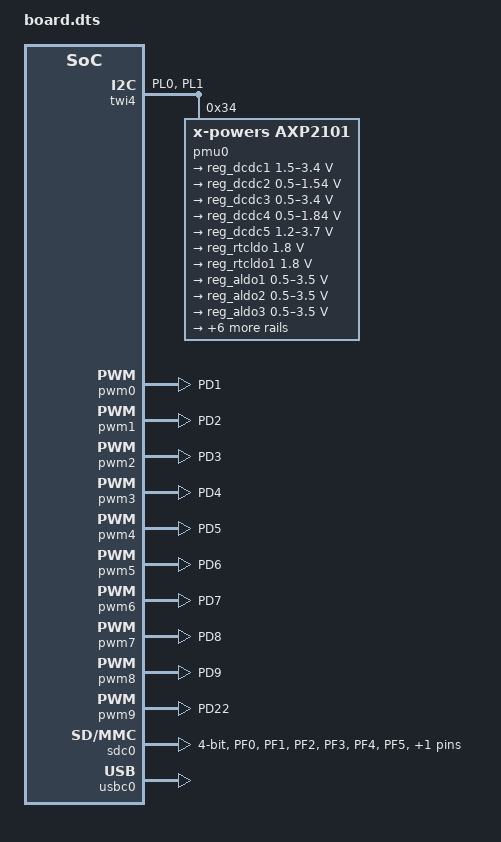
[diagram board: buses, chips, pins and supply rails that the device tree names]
/*
 * Allwinner Technology CO., Ltd. sun8iw19p1 soc board.
 *
 * soc board support.
 */

/dts-v1/;

#include "sun8iw19p1.dtsi"

/{
	dram: dram {
		dram_clk = <0x000001e0>;
		dram_type = <0x00000003>;
		dram_zq = <0x00003bfb>;
		dram_odt_en = <0x00000001>;
		dram_para1 = <0x004310f2>;
		dram_para2 = <0x02000000>;
		dram_mr0 = <0x00001c70>;
		dram_mr1 = <0x00000000>;
		dram_mr2 = <0x00000018>;
		dram_mr3 = <0x00000000>;
		dram_tpr0 = <0x0046190d>;
		dram_tpr1 = <0x0121210a>;
		dram_tpr2 = <0x0005403b>;
		dram_tpr3 = <0x00002006>;
		dram_tpr4 = <0x05040405>;
		dram_tpr5 = <0x05050302>;
		dram_tpr6 = <0x90006644>;
		dram_tpr7 = <0x42c21590>;
		dram_tpr8 = <0xd05612c0>;
		dram_tpr9 = <0x00083def>;
		dram_tpr10 = <0x00000000>;
		dram_tpr11 = <0x00210000>;
		dram_tpr12 = <0x00000055>;
		dram_tpr13 = <0x00006003>;
	};

	opp_dvfs_table:opp_dvfs_table {
		cluster_num = <1>;
		opp_table_count = <1>;

		cpu_opp_l_table0: opp_l_table0 {
			/* compatible = "operating-points-v2"; */
			compatible = "allwinner,opp_l_table0";
			opp_count = <6>;
			opp-shared;

			opp00 {
				opp-hz = /bits/ 64 <600000000>;
				opp-microvolt = <900000>;
				axi-bus-divide-ratio = <3>;
				clock-latency-ns = <2000000>;
			};

			opp01 {
				opp-hz = /bits/ 64 <816000000>;
				opp-microvolt = <900000>;
				axi-bus-divide-ratio = <3>;
				clock-latency-ns = <2000000>;
			};

			opp02 {
				opp-hz = /bits/ 64 <912000000>;
				opp-microvolt = <900000>;
				axi-bus-divide-ratio = <3>;
				clock-latency-ns = <2000000>;
			};

			opp03 {
				opp-hz = /bits/ 64 <1008000000>;
				opp-microvolt = <900000>;
				axi-bus-divide-ratio = <3>;
				clock-latency-ns = <2000000>;
			};

			opp04 {
				opp-hz = /bits/ 64 <1104000000>;
				opp-microvolt = <1000000>;
				axi-bus-divide-ratio = <3>;
				clock-latency-ns = <2000000>;
			};
			opp05 {
				opp-hz = /bits/ 64 <1200000000>;
				opp-microvolt = <1000000>;
				axi-bus-divide-ratio = <3>;
				clock-latency-ns = <2000000>;
			};
		};
	};
	soc@03000000 {

		r_pio: pinctrl@07022000 {
			compatible = "allwinner,sun8iw19p1-r-pinctrl";
			reg = <0x0 0x07022000 0x0 0x400>;
			interrupts = <GIC_SPI 106 4>;
			clocks = <&clk_cpurpio>;
			device_type = "r_pio";
			gpio-controller;
			interrupt-controller;
			#interrupt-cells = <3>;
			#size-cells = <0>;
			#gpio-cells = <6>;

			s_twi0_pins_a: s_twi0@0 {
				allwinner,pins = "PL0", "PL1";
				allwinner,function = "s_twi0";
				allwinner,muxsel = <3>;
				allwinner,drive = <1>;
				allwinner,pull = <1>;
			};

			s_twi0_pins_b: s_twi0@1 {
				allwinner,pins = "PL0", "PL1";
				allwinner,function = "io_disabled";
				allwinner,muxsel = <7>;
				allwinner,drive = <1>;
				allwinner,pull = <0>;
			};

		};

		pinctrl@0300b000 {

			twi0_pins_a: twi0@0 {
				allwinner,pins = "PI3", "PI4";
				allwinner,pname = "twi0_scl", "twi0_sda";
				allwinner,function = "twi0";
				allwinner,muxsel = <5>;
				allwinner,drive = <1>;
				allwinner,pull = <0>;
			};

			twi0_pins_b: twi0@1 {
				allwinner,pins = "PI3", "PI4";
				allwinner,function = "io_disabled";
				allwinner,muxsel = <7>;
				allwinner,drive = <1>;
				allwinner,pull = <0>;
			};

			twi1_pins_a: twi1@0 {
				allwinner,pins = "PI1", "PI2";
				allwinner,pname = "twi1_scl", "twi1_sda";
				allwinner,function = "twi1";
				allwinner,muxsel = <5>;
				allwinner,drive = <1>;
				allwinner,pull = <0>;
			};

			twi1_pins_b: twi1@1 {
				allwinner,pins = "PI1", "PI2";
				allwinner,function = "io_disabled";
				allwinner,muxsel = <7>;
				allwinner,drive = <1>;
				allwinner,pull = <0>;
			};

			twi2_pins_a: twi2@0 {
				allwinner,pins = "PH5", "PH6";
				allwinner,pname = "twi2_scl", "twi2_sda";
				allwinner,function = "twi2";
				allwinner,muxsel = <4>;
				allwinner,drive = <1>;
				allwinner,pull = <0>;
			};

			twi2_pins_b: twi2@1 {
				allwinner,pins = "PH5", "PH6";
				allwinner,function = "io_disabled";
				allwinner,muxsel = <7>;
				allwinner,drive = <1>;
				allwinner,pull = <0>;
			};

			twi3_pins_a: twi3@0 {
				allwinner,pins = "PH13", "PH14";
				allwinner,pname = "twi3_scl", "twi3_sda";
				allwinner,function = "twi3";
				allwinner,muxsel = <5>;
				allwinner,drive = <1>;
				allwinner,pull = <0>;
			};

			twi3_pins_b: twi3@1 {
				allwinner,pins = "PH13", "PH14";
				allwinner,function = "io_disabled";
				allwinner,muxsel = <7>;
				allwinner,drive = <1>;
				allwinner,pull = <0>;
			};

			spi0_pins_a: spi0@0 {
				allwinner,pins = "PC0", "PC2", "PC3",
						"PC5", "PC4";
				allwinner,pname = "spi0_sclk", "spi0_mosi",
						  "spi0_miso", "spi0_hold", "spi0_wp";
				allwinner,function = "spi0";
				allwinner,muxsel = <4>;
				allwinner,drive = <1>;
				allwinner,pull = <0>;
			};

			spi0_pins_b: spi0@1 {
				allwinner,pins = "PC1", "PC6";
				allwinner,pname = "spi0_cs0", "spi0_cs1";
				allwinner,function = "spi0";
				allwinner,muxsel = <4>;
				allwinner,drive = <1>;
				allwinner,pull = <1>; 	// only CS should be pulled up
			};

			spi0_pins_c: spi0@2 {
				allwinner,pins = "PC0", "PC1", "PC2", "PC3",
						"PC4", "PC5", "PC6";
				allwinner,function = "io_disabled";
				allwinner,muxsel = <7>;
				allwinner,drive = <1>;
				allwinner,pull = <0>;
			};

			sdc0_pins_a: sdc0@0 {
				allwinner,pins = "PF0", "PF1", "PF2", "PF3",
						"PF4", "PF5";
				allwinner,function = "sdc0";
				allwinner,muxsel = <2>;
				allwinner,drive = <3>;
				allwinner,pull = <1>;
			};

			owc0_pins_a: owc0@0 {
				allwinner,pins = "PH4";
				allwinner,pname = "owc0";
				allwinner,function = "owc0";
				allwinner,muxsel = <5>;
				allwinner,drive = <1>;
				allwinner,pull = <0>;
			};

			owc0_pins_b: owc0_sleep@0 {
				allwinner,pins = "PH4";
				allwinner,function = "io_disabled";
				allwinner,muxsel = <7>;
				allwinner,drive = <1>;
				allwinner,pull = <0>;
			};

			pwm0_pins_a: pwm0@0 {
				allwinner,pins = "PD1";
				allwinner,pname = "pwm0_positive";
				allwinner,function = "pwm0";
				allwinner,muxsel = <3>;
				allwinner,drive = <1>;
				allwinner,pull = <0>;
			};

			pwm0_pins_b: pwm0@1 {
				allwinner,pins = "PD1";
				allwinner,function = "io_disabled";
				allwinner,muxsel = <7>;
				allwinner,drive = <1>;
				allwinner,pull = <0>;
			};

			pwm1_pins_a: pwm1@0 {
				allwinner,pins = "PD2";
				allwinner,pname = "pwm1_positive";
				allwinner,function = "pwm1";
				allwinner,muxsel = <3>;
				allwinner,drive = <1>;
				allwinner,pull = <0>;
			};

			pwm1_pins_b: pwm1@1 {
				allwinner,pins = "PD2";
				allwinner,function = "io_disabled";
				allwinner,muxsel = <7>;
				allwinner,drive = <1>;
				allwinner,pull = <0>;
			};

			pwm2_pins_a: pwm2@0 {
				allwinner,pins = "PD3";
				allwinner,pname = "pwm2_positive";
				allwinner,function = "pwm2";
				allwinner,muxsel = <3>;
				allwinner,drive = <1>;
				allwinner,pull = <0>;
			};

			pwm2_pins_b: pwm2@1 {
				allwinner,pins = "PD3";
				allwinner,function = "io_disabled";
				allwinner,muxsel = <7>;
				allwinner,drive = <1>;
				allwinner,pull = <0>;
			};

			pwm3_pins_a: pwm3@0 {
				allwinner,pins = "PD4";
				allwinner,pname = "pwm3_positive";
				allwinner,function = "pwm3";
				allwinner,muxsel = <3>;
				allwinner,drive = <1>;
				allwinner,pull = <0>;
			};

			pwm3_pins_b: pwm3@1 {
				allwinner,pins = "PD4";
				allwinner,function = "io_disabled";
				allwinner,muxsel = <7>;
				allwinner,drive = <1>;
				allwinner,pull = <0>;
			};

			pwm4_pins_a: pwm4@0 {
				allwinner,pins = "PD5";
				allwinner,pname = "pwm4_positive";
				allwinner,function = "pwm4";
				allwinner,muxsel = <3>;
				allwinner,drive = <1>;
				allwinner,pull = <0>;
			};

			pwm4_pins_b: pwm4@1 {
				allwinner,pins = "PD5";
				allwinner,function = "io_disabled";
				allwinner,muxsel = <7>;
				allwinner,drive = <1>;
				allwinner,pull = <0>;
			};

			pwm5_pins_a: pwm5@0 {
				allwinner,pins = "PD6";
				allwinner,pname = "pwm5_positive";
				allwinner,function = "pwm5";
				allwinner,muxsel = <3>;
				allwinner,drive = <1>;
				allwinner,pull = <0>;
			};

			pwm5_pins_b: pwm5@1 {
				allwinner,pins = "PD6";
				allwinner,function = "io_disabled";
				allwinner,muxsel = <7>;
				allwinner,drive = <1>;
				allwinner,pull = <0>;
			};

			pwm6_pins_a: pwm6@0 {
				allwinner,pins = "PD7";
				allwinner,pname = "pwm6_positive";
				allwinner,function = "pwm6";
				allwinner,muxsel = <3>;
				allwinner,drive = <1>;
				allwinner,pull = <0>;
			};

			pwm6_pins_b: pwm6@1 {
				allwinner,pins = "PD7";
				allwinner,function = "io_disabled";
				allwinner,muxsel = <7>;
				allwinner,drive = <1>;
				allwinner,pull = <0>;
			};

			pwm7_pins_a: pwm7@0 {
				allwinner,pins = "PD8";
				allwinner,pname = "pwm7_positive";
				allwinner,function = "pwm7";
				allwinner,muxsel = <3>;
				allwinner,drive = <1>;
				allwinner,pull = <0>;
			};

			pwm7_pins_b: pwm7@1 {
				allwinner,pins = "PD8";
				allwinner,function = "io_disabled";
				allwinner,muxsel = <7>;
				allwinner,drive = <1>;
				allwinner,pull = <0>;
			};

			pwm8_pins_a: pwm8@0 {
				allwinner,pins = "PD9";
				allwinner,pname = "pwm8_positive";
				allwinner,function = "pwm8";
				allwinner,muxsel = <3>;
				allwinner,drive = <1>;
				allwinner,pull = <0>;
			};

			pwm8_pins_b: pwm8@1 {
				allwinner,pins = "PD9";
				allwinner,function = "io_disabled";
				allwinner,muxsel = <7>;
				allwinner,drive = <1>;
				allwinner,pull = <0>;
			};

			pwm9_pins_a: pwm9@0 {
				allwinner,pins = "PD22";
				allwinner,pname = "pwm9_positive";
				allwinner,function = "pwm9";
				allwinner,muxsel = <2>;
				allwinner,drive = <1>;
				allwinner,pull = <0>;
			};

			pwm9_pins_b: pwm9@1 {
				allwinner,pins = "PD22";
				allwinner,function = "io_disabled";
				allwinner,muxsel = <7>;
				allwinner,drive = <1>;
				allwinner,pull = <0>;
			};
		};
/*
resistance gpadc configuration
channel_num:   Maxinum number of channels supported on the platform.
channel_select:   channel enable setection. channel0:0x01  channel1:0x02 channel2:0x04 channel3:0x08
channel_data_select:  channel data enable.  channel0:0x01  channel1:0x02 channel2:0x04 channel3:0x08.
channel_compare_select:   compare function enable channel0:0x01  channel1:0x02 channel2:0x04 channel3:0x08.
channel_cld_select:  compare function low data enable setection: channel0:0x01  channel1:0x02 channel2:0x04 channel3:0x08.
channel_chd_select:  compare function hig data enable setection: channel0:0x01  channel1:0x02 channel2:0x04 channel3:0x08.
*/
		gpadc:gpadc{
			channel_num = <1>;
			channel_select = <0x01>;
			channel_data_select = <0>;
			channel_compare_select = <0x01>;
			channel_cld_select = <0x01>;
			channel_chd_select = <0>;
			channel0_compare_lowdata = <1700000>;
			channel0_compare_higdata = <1200000>;
			channel1_compare_lowdata = <460000>;
			channel1_compare_higdata = <1200000>;
			key_cnt = <5>;
			key0_vol = <210>;
			key0_val = <115>;
			key1_vol = <410>;
			key1_val = <114>;
			key2_vol = <590>;
			key2_val = <139>;
			key3_vol = <750>;
			key3_val = <28>;
			key4_vol = <880>;
			key4_val = <102>;
			status = "disable";
		};

		twi0: twi@0x05002000 {
			pinctrl-0 = <&twi0_pins_a>;
			pinctrl-1 = <&twi0_pins_b>;
			twi_drv_used = <1>;
			status = "disable";
		};

		twi1: twi@0x05002400 {
			pinctrl-0 = <&twi1_pins_a>;
			pinctrl-1 = <&twi1_pins_b>;
			twi_drv_used = <0>;
			status = "disable";
		};

		twi2: twi@0x05002800 {
			pinctrl-0 = <&twi2_pins_a>;
			pinctrl-1 = <&twi2_pins_b>;
			twi_drv_used = <0>;
			status = "disable";
		};

		twi3: twi@0x05002c00 {
			pinctrl-0 = <&twi3_pins_a>;
			pinctrl-1 = <&twi3_pins_b>;
			twi_drv_used = <0>;
			status = "disable";
		};
		twi4: twi@0x07081400 {
			pinctrl-0 = <&s_twi0_pins_a>;
			pinctrl-1 = <&s_twi0_pins_b>;
			status = "okay";
		};

		twi4: twi@0x07081400{
			status = "okay";

			pmu0: pmu@0{
				compatible = "x-powers,axp2101";
				reg = <0x34>;
				#address-cells = <1>;
				#size-cells = <0>;
				interrupts = <GIC_SPI 104 IRQ_TYPE_LEVEL_HIGH>;
				status = "okay";
				wakeup-source;

				powerkey0: powerkey@0{
					status = "okay";
					compatible = "x-powers,axp2101-pek";
					pmu_powkey_off_time = <6000>;
					pmu_powkey_off_func = <0>;
					pmu_powkey_off_en = <1>;
					pmu_powkey_long_time = <1500>;
					pmu_powkey_on_time = <512>;
					wakeup_rising;
					/* wakeup_falling; */
				};

				regulator0: regulators@0{
					reg_dcdc1: dcdc1 {
						regulator-name = "axp2101-dcdc1";
						regulator-min-microvolt = <1500000>;
						regulator-max-microvolt = <3400000>;
						regulator-boot-on;
						regulator-always-on;
					};
					reg_dcdc2: dcdc2 {
						regulator-name = "axp2101-dcdc2";
						regulator-min-microvolt = <500000>;
						regulator-max-microvolt = <1540000>;
						regulator-boot-on;
						regulator-always-on;
					};
					reg_dcdc3: dcdc3 {
						regulator-name = "axp2101-dcdc3";
						regulator-min-microvolt = <500000>;
						regulator-max-microvolt = <3400000>;
						regulator-boot-on;
						regulator-always-on;
					};
					reg_dcdc4: dcdc4 {
						regulator-name = "axp2101-dcdc4";
						regulator-min-microvolt = <500000>;
						regulator-max-microvolt = <1840000>;
						regulator-boot-on;
						regulator-always-on;
					};
					reg_dcdc5: dcdc5 {
						regulator-name = "axp2101-dcdc5";
						regulator-min-microvolt = <1200000>;
						regulator-max-microvolt = <3700000>;
					};
					reg_rtcldo: rtcldo {
						/* RTC_LDO is a fixed, always-on regulator */
						regulator-name = "axp2101-rtcldo";
						regulator-min-microvolt = <1800000>;
						regulator-max-microvolt = <1800000>;
						regulator-boot-on;
						regulator-always-on;
					};
					reg_rtcldo1: rtcldo1 {
						regulator-name = "axp2101-rtcldo1";
						regulator-min-microvolt = <1800000>;
						regulator-max-microvolt = <1800000>;
					};
					reg_aldo1: aldo1 {
						regulator-name = "axp2101-aldo1";
						regulator-min-microvolt = <500000>;
						regulator-max-microvolt = <3500000>;
						regulator-boot-on;
						regulator-always-on;
					};
					reg_aldo2: aldo2 {
						regulator-name = "axp2101-aldo2";
						regulator-min-microvolt = <500000>;
						regulator-max-microvolt = <3500000>;
					};
					reg_aldo3: aldo3 {
						regulator-name = "axp2101-aldo3";
						regulator-min-microvolt = <500000>;
						regulator-max-microvolt = <3500000>;
						regulator-boot-on;
					};
					reg_aldo4: aldo4 {
						regulator-name = "axp2101-aldo4";
						regulator-min-microvolt = <500000>;
						regulator-max-microvolt = <3500000>;
					};
					reg_bldo1: bldo1 {
						regulator-name = "axp2101-bldo1";
						regulator-min-microvolt = <500000>;
						regulator-max-microvolt = <3500000>;
						regulator-boot-on;
						regulator-always-on;
					};
					reg_bldo2: bldo2 {
						regulator-name = "axp2101-bldo2";
						regulator-min-microvolt = <500000>;
						regulator-max-microvolt = <3500000>;
					};
					reg_dldo1: dldo1 {
						regulator-name = "axp2101-dldo1";
						regulator-min-microvolt = <500000>;
						regulator-max-microvolt = <3500000>;
					};
					reg_dldo2: dldo2 {
						regulator-name = "axp2101-dldo2";
						regulator-min-microvolt = <500000>;
						regulator-max-microvolt = <1400000>;
					};
					reg_cpusldo: cpusldo {
						regulator-name = "axp2101-cpusldo";
						regulator-min-microvolt = <500000>;
						regulator-max-microvolt = <1400000>;
					};
				};

				virtual-dcdc1 {
					compatible = "xpower-vregulator,dcdc1";
					dcdc1-supply = <&reg_dcdc1>;
				};
				virtual-dcdc2 {
					compatible = "xpower-vregulator,dcdc2";
					dcdc2-supply = <&reg_dcdc2>;
				};
				virtual-dcdc3 {
					compatible = "xpower-vregulator,dcdc3";
					dcdc3-supply = <&reg_dcdc3>;
				};

				virtual-dcdc4 {
					compatible = "xpower-vregulator,dcdc4";
					dcdc4-supply = <&reg_dcdc4>;
				};
				virtual-dcdc5 {
					compatible = "xpower-vregulator,dcdc5";
					dcdc5-supply = <&reg_dcdc5>;
				};

				virtual-aldo1 {
					compatible = "xpower-vregulator,aldo1";
					aldo1-supply = <&reg_aldo1>;
				};
				virtual-aldo2 {
					compatible = "xpower-vregulator,aldo2";
					aldo2-supply = <&reg_aldo2>;
				};
				virtual-aldo3 {
					compatible = "xpower-vregulator,aldo3";
					aldo3-supply = <&reg_aldo3>;
				};
				virtual-aldo4 {
					compatible = "xpower-vregulator,aldo4";
					aldo4-supply = <&reg_aldo4>;
				};

				virtual-bldo1 {
					compatible = "xpower-vregulator,bldo1";
					bldo1-supply = <&reg_bldo1>;
				};
				virtual-bldo2 {
					compatible = "xpower-vregulator,bldo2";
					bldo2-supply = <&reg_bldo2>;
				};

				virtual-dldo1 {
					compatible = "xpower-vregulator,dldo1";
					dldo1-supply = <&reg_dldo1>;
				};
				virtual-dldo2 {
					compatible = "xpower-vregulator,dldo2";
					dldo2-supply = <&reg_dldo2>;
				};

				axp_gpio0: axp_gpio@0{
					gpio-controller;
					#size-cells = <0>;
					#gpio-cells = <6>;
					status = "okay";
				};

				charger0: charger@0{
					status = "okay";
				};
			};
		};

		spi@05010000 {
			pinctrl-0 = <&spi0_pins_a &spi0_pins_b>;
			pinctrl-1 = <&spi0_pins_c>;
			status = "disable";
			spi_board0 {
				device_type = "spi_board0";
				compatible = "m25p80";
				spi-max-frequency = <0x5f5e100>;
				reg = <0x0>;
				spi-rx-bus-width = <0x1>;
				spi-tx-bus-width = <0x1>;
			};
		};

		s_owc0: s_owc@07040400 {
			pinctrl-0 = <&owc0_pins_a>;
			pinctrl-1 = <&owc0_pins_b>;
			status = "okay";
		};

		pwm0: pwm0@0300a000 {
			pinctrl-0 = <&pwm0_pins_a>;
			pinctrl-1 = <&pwm0_pins_b>;
			status = "okay";
		};

		pwm1: pwm1@0300a000 {
			pinctrl-0 = <&pwm1_pins_a>;
			pinctrl-1 = <&pwm1_pins_b>;
			status = "okay";
		};

		pwm2: pwm2@0300a000 {
			pinctrl-0 = <&pwm2_pins_a>;
			pinctrl-1 = <&pwm2_pins_b>;
			status = "okay";
		};

		pwm3: pwm3@0300a000 {
			pinctrl-0 = <&pwm3_pins_a>;
			pinctrl-1 = <&pwm3_pins_b>;
			status = "okay";
		};

		pwm4: pwm4@0300a000 {
			pinctrl-0 = <&pwm4_pins_a>;
			pinctrl-1 = <&pwm4_pins_b>;
			status = "okay";
		};

		pwm5: pwm5@0300a000 {
			pinctrl-0 = <&pwm5_pins_a>;
			pinctrl-1 = <&pwm5_pins_b>;
			status = "okay";
		};

		pwm6: pwm6@0300a000 {
			pinctrl-0 = <&pwm6_pins_a>;
			pinctrl-1 = <&pwm6_pins_b>;
			status = "okay";
		};

		pwm7: pwm7@0300a000 {
			pinctrl-0 = <&pwm7_pins_a>;
			pinctrl-1 = <&pwm7_pins_b>;
			status = "okay";
		};

		pwm8: pwm8@0300a000 {
			pinctrl-0 = <&pwm8_pins_a>;
			pinctrl-1 = <&pwm8_pins_b>;
			status = "okay";
		};

		pwm9: pwm9@0300a000 {
			pinctrl-0 = <&pwm9_pins_a>;
			pinctrl-1 = <&pwm9_pins_b>;
			status = "okay";
		};

		sdc0: sdmmc@04020000 {
			pinctrl-0 = <&sdc0_pins_a>;
			bus-width = <4>;
			cd-gpios = <&pio PF 6 0 1 3 0xffffffff>;
			card-pwr-gpios = <&pio PH 2 1 1 2 0xffffffff>;
			sunxi-power-save-mode;
			sunxi-dis-signal-vol-sw;
			max-frequency = <20000000>;
			no-sdio;
			/*broken-cd;*/
			ctl-spec-caps = <0x8>;
			status = "okay";
		};

		usbc0:usbc0@0{
			usb_port_type = <0>;
			usb_detect_type = <0>;
			usb_detect_mode = <0>;
			usb_id_gpio;
			usb_det_vbus_gpio;
			usb_drv_vbus_gpio;
			usb_host_init_state = <0>;
			status = "okay";
		};

		disp: disp@01000000 {
			disp_init_enable         = <1>;
			disp_mode                = <0>;

			screen0_output_type      = <1>;
			screen0_output_mode      = <4>;

			disp_rotation_used = <1>;
			degree0 = <3>;
			fb0_format               = <0>;
			fb0_width                = <640>;
			fb0_height               = <480>;

			lcd0_backlight           = <50>;
			lcd0_bright              = <50>;
			lcd0_contrast            = <50>;
			lcd0_saturation          = <57>;
			lcd0_hue                 = <50>;
			dldo1-supply = <&reg_dldo1>;
			bldo1-supply = <&reg_bldo1>;
			dcdc1-supply = <&reg_dcdc1>;
		};

		lcd0: lcd0@01c0c000 {
			lcd_used            = <1>;

			lcd_driver_name     = "st7701s";

			lcd_backlight       = <150>;

			lcd_if              = <4>;
			lcd_x               = <480>;
			lcd_y               = <640>;
			lcd_width           = <36>;
			lcd_height          = <65>;
			lcd_dclk_freq       = <25>;

			lcd_pwm_used        = <1>;
			lcd_pwm_ch          = <9>;
			lcd_pwm_freq        = <50000>;
			lcd_pwm_pol         = <1>;
			lcd_pwm_max_limit   = <255>;

			lcd_hbp             = <70>;
			lcd_ht              = <615>;
			lcd_hspw            = <8>;
			lcd_vbp             = <30>;
			lcd_vt              = <690>;
			lcd_vspw            = <10>;

			lcd_dsi_if          = <0>;
			lcd_dsi_lane        = <2>;
			lcd_dsi_format      = <0>;
			lcd_dsi_te          = <0>;
			lcd_dsi_eotp        = <0>;

			lcd_frm             = <0>;
			lcd_io_phase        = <0x0000>;
			lcd_hv_clk_phase    = <0>;
			lcd_hv_sync_polarity= <0>;
			lcd_gamma_en        = <0>;
			lcd_bright_curve_en = <0>;
			lcd_cmap_en         = <0>;

			lcdgamma4iep        = <22>;

			lcd_power            = "dldo1";
			lcd_pin_power        = "bldo1";
			lcd_pin_power1    	= "dcdc1";

			lcd_gpio_0 = <&pio PD 9 1 0 3 1>;
		};

	};

	wlan:wlan {
		compatible = "allwinner,sunxi-wlan";
		clocks = <&clk_losc_out>;
		wlan_busnum = <1>;
		wlan_usbnum = <3>;
		wlan_power;
		wlan_io_regulator;
		wlan_en;
		wlan_regon;
		wlan_hostwake;
		status = "disabled";
	};
};

